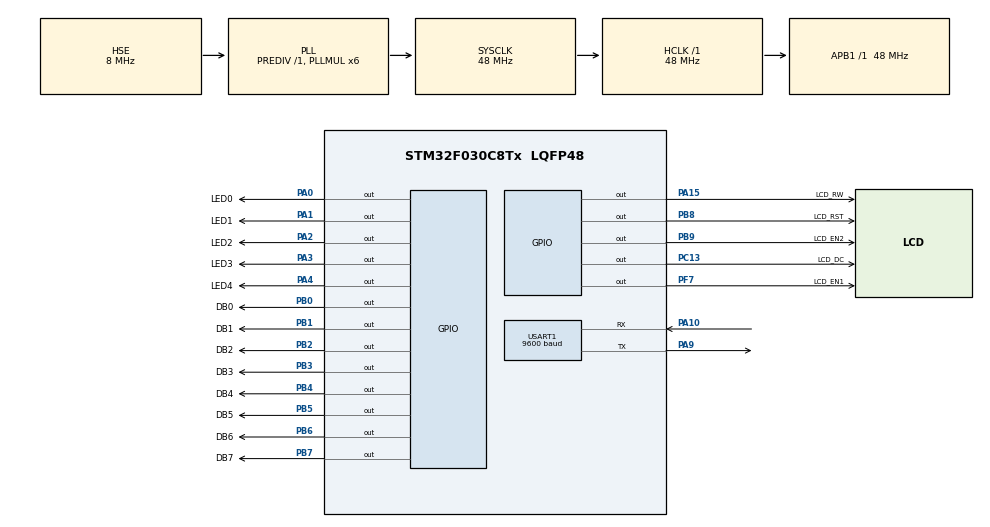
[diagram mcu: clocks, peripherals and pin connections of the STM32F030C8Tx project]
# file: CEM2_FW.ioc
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Mcu.Family=STM32F0
Mcu.Name=STM32F030C8Tx
Mcu.Package=LQFP48
NVIC.USART1_IRQn=true\:3\:0\:true\:false\:true\:true\:true
PA0.GPIO_Label=LED0
PA0.PinState=GPIO_PIN_SET
PA0.Signal=GPIO_Output
PA1.GPIO_Label=LED1
PA1.PinState=GPIO_PIN_SET
PA1.Signal=GPIO_Output
PA10.Mode=Asynchronous
PA10.Signal=USART1_RX
PA13.Mode=Serial_Wire
PA13.Signal=SYS_SWDIO
PA14.Mode=Serial_Wire
PA14.Signal=SYS_SWCLK
PA15.GPIO_Label=LCD_RW
PA15.Signal=GPIO_Output
PA2.GPIO_Label=LED2
PA2.PinState=GPIO_PIN_SET
PA2.Signal=GPIO_Output
PA3.GPIO_Label=LED3
PA3.PinState=GPIO_PIN_SET
PA3.Signal=GPIO_Output
PA4.GPIO_Label=LED4
PA4.PinState=GPIO_PIN_SET
PA4.Signal=GPIO_Output
PA9.Mode=Asynchronous
PA9.Signal=USART1_TX
PB0.GPIO_Label=DB0
PB0.GPIO_Speed=GPIO_SPEED_FREQ_HIGH
PB0.Signal=GPIO_Output
PB1.GPIO_Label=DB1
PB1.GPIO_Speed=GPIO_SPEED_FREQ_HIGH
PB1.Signal=GPIO_Output
PB2.GPIO_Label=DB2
PB2.GPIO_Speed=GPIO_SPEED_FREQ_HIGH
PB2.Signal=GPIO_Output
PB3.GPIO_Label=DB3
PB3.GPIO_Speed=GPIO_SPEED_FREQ_HIGH
PB3.Signal=GPIO_Output
PB4.GPIO_Label=DB4
PB4.GPIO_Speed=GPIO_SPEED_FREQ_HIGH
PB4.Signal=GPIO_Output
PB5.GPIO_Label=DB5
PB5.GPIO_Speed=GPIO_SPEED_FREQ_HIGH
PB5.Signal=GPIO_Output
PB6.GPIO_Label=DB6
PB6.GPIO_Speed=GPIO_SPEED_FREQ_HIGH
PB6.Signal=GPIO_Output
PB7.GPIO_Label=DB7
PB7.GPIO_Speed=GPIO_SPEED_FREQ_HIGH
PB7.Signal=GPIO_Output
PB8.GPIO_Label=LCD_RST
PB8.GPIO_Speed=GPIO_SPEED_FREQ_HIGH
PB8.Signal=GPIO_Output
PB9.GPIO_Label=LCD_EN2
PB9.GPIO_Speed=GPIO_SPEED_FREQ_HIGH
PB9.Signal=GPIO_Output
PC13.GPIO_Label=LCD_DC
PC13.Signal=GPIO_Output
PF0-OSC_IN.Mode=HSE-External-Oscillator
PF0-OSC_IN.Signal=RCC_OSC_IN
PF1-OSC_OUT.Mode=HSE-External-Oscillator
PF1-OSC_OUT.Signal=RCC_OSC_OUT
PF7.GPIO_Label=LCD_EN1
PF7.GPIO_Speed=GPIO_SPEED_FREQ_HIGH
PF7.Signal=GPIO_Output
ProjectManager.HeapSize=0x200
ProjectManager.StackSize=0x400
ProjectManager.TargetToolchain=MDK-ARM V5.27
RCC.AHBFreq_Value=48000000
RCC.APB1Freq_Value=48000000
RCC.APB1TimFreq_Value=48000000
RCC.HCLKFreq_Value=48000000
RCC.PLLMUL=RCC_PLL_MUL6
RCC.PLLSourceVirtual=RCC_PLLSOURCE_HSE
RCC.SYSCLKFreq_VALUE=48000000
RCC.SYSCLKSource=RCC_SYSCLKSOURCE_PLLCLK
USART1.BaudRate=9600
USART1.VirtualMode-Asynchronous=VM_ASYNC
board=custom

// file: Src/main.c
/* USER CODE BEGIN Header */
/**
  ******************************************************************************
  * @file           : main.c
  * @brief          : Main program body
  ******************************************************************************
  * @attention
  *
  * <h2><center>&copy; Copyright (c) 2020 STMicroelectronics.
  * All rights reserved.</center></h2>
  *
  * This software component is licensed by ST under BSD 3-Clause license,
  * the "License"; You may not use this file except in compliance with the
  * License. You may obtain a copy of the License at:
  *                        opensource.org/licenses/BSD-3-Clause
  *
  ******************************************************************************
  */
/* USER CODE END Header */

#include "main.h"

/* USER CODE BEGIN Includes */
#include "lcd_12232.h"
#include "app.h"
#include "string.h"

/* USER CODE END Includes */

/* USER CODE BEGIN PTD */
char uart_rxbuf[40];
uint16_t uart_rx_sta=0;
uint8_t uart_rx_byte=0;
/* USER CODE END PTD */

UART_HandleTypeDef huart1;

void SystemClock_Config(void);
static void MX_GPIO_Init(void);
static void MX_USART1_UART_Init(void);

int main(void)
{

  /* MCU Configuration--------------------------------------------------------*/

  /* Reset of all peripherals, Initializes the Flash interface and the Systick. */
  HAL_Init();

  /* Configure the system clock */
  SystemClock_Config();

  /* Initialize all configured peripherals */
  MX_GPIO_Init();
  MX_USART1_UART_Init();
  /* USER CODE BEGIN 2 */
	LCD_Init();
	RM_Desk();
  /* USER CODE END 2 */

  /* Infinite loop */
  while (1)
  {
		HAL_Delay(500);
		LCD_refreshGram();
		if(uart_rx_sta&0x8000)
		{
			RM_Desk_Refresh();
			uart_rx_sta=0;
		}
  }
}

void SystemClock_Config(void)
{
  RCC_OscInitTypeDef RCC_OscInitStruct = {0};
  RCC_ClkInitTypeDef RCC_ClkInitStruct = {0};
  RCC_PeriphCLKInitTypeDef PeriphClkInit = {0};

  /** Initializes the CPU, AHB and APB busses clocks
  */
  RCC_OscInitStruct.OscillatorType = RCC_OSCILLATORTYPE_HSE;
  RCC_OscInitStruct.HSEState = RCC_HSE_ON;
  RCC_OscInitStruct.PLL.PLLState = RCC_PLL_ON;
  RCC_OscInitStruct.PLL.PLLSource = RCC_PLLSOURCE_HSE;
  RCC_OscInitStruct.PLL.PLLMUL = RCC_PLL_MUL6;
  RCC_OscInitStruct.PLL.PREDIV = RCC_PREDIV_DIV1;
  if (HAL_RCC_OscConfig(&RCC_OscInitStruct) != HAL_OK)
  {
    Error_Handler();
  }
  /** Initializes the CPU, AHB and APB busses clocks
  */
  RCC_ClkInitStruct.ClockType = RCC_CLOCKTYPE_HCLK|RCC_CLOCKTYPE_SYSCLK
                              |RCC_CLOCKTYPE_PCLK1;
  RCC_ClkInitStruct.SYSCLKSource = RCC_SYSCLKSOURCE_PLLCLK;
  RCC_ClkInitStruct.AHBCLKDivider = RCC_SYSCLK_DIV1;
  RCC_ClkInitStruct.APB1CLKDivider = RCC_HCLK_DIV1;

  if (HAL_RCC_ClockConfig(&RCC_ClkInitStruct, FLASH_LATENCY_1) != HAL_OK)
  {
    Error_Handler();
  }
  PeriphClkInit.PeriphClockSelection = RCC_PERIPHCLK_USART1;
  PeriphClkInit.Usart1ClockSelection = RCC_USART1CLKSOURCE_PCLK1;
  if (HAL_RCCEx_PeriphCLKConfig(&PeriphClkInit) != HAL_OK)
  {
    Error_Handler();
  }
}

static void MX_USART1_UART_Init(void)
{

  huart1.Instance = USART1;
  huart1.Init.BaudRate = 9600;
  huart1.Init.WordLength = UART_WORDLENGTH_8B;
  huart1.Init.StopBits = UART_STOPBITS_1;
  huart1.Init.Parity = UART_PARITY_NONE;
  huart1.Init.Mode = UART_MODE_TX_RX;
  huart1.Init.HwFlowCtl = UART_HWCONTROL_NONE;
  huart1.Init.OverSampling = UART_OVERSAMPLING_16;
  huart1.Init.OneBitSampling = UART_ONE_BIT_SAMPLE_DISABLE;
  huart1.AdvancedInit.AdvFeatureInit = UART_ADVFEATURE_NO_INIT;
  if (HAL_UART_Init(&huart1) != HAL_OK)
  {
    Error_Handler();
  }
  /* USER CODE BEGIN USART1_Init 2 */
	HAL_UART_Receive_IT(&huart1,&uart_rx_byte,1);
  /* USER CODE END USART1_Init 2 */

}

static void MX_GPIO_Init(void)
{
  LL_GPIO_InitTypeDef GPIO_InitStruct = {0};

  /* GPIO Ports Clock Enable */
  LL_AHB1_GRP1_EnableClock(LL_AHB1_GRP1_PERIPH_GPIOC);
  LL_AHB1_GRP1_EnableClock(LL_AHB1_GRP1_PERIPH_GPIOF);
  LL_AHB1_GRP1_EnableClock(LL_AHB1_GRP1_PERIPH_GPIOA);
  LL_AHB1_GRP1_EnableClock(LL_AHB1_GRP1_PERIPH_GPIOB);

  /**/
  LL_GPIO_ResetOutputPin(LCD_DC_GPIO_Port, LCD_DC_Pin);

  /**/
  LL_GPIO_ResetOutputPin(DB0_GPIO_Port, DB0_Pin);

  /**/
  LL_GPIO_ResetOutputPin(DB1_GPIO_Port, DB1_Pin);

  /**/
  LL_GPIO_ResetOutputPin(DB2_GPIO_Port, DB2_Pin);

  /**/
  LL_GPIO_ResetOutputPin(LCD_EN1_GPIO_Port, LCD_EN1_Pin);

  /**/
  LL_GPIO_ResetOutputPin(LCD_RW_GPIO_Port, LCD_RW_Pin);

  /**/
  LL_GPIO_ResetOutputPin(DB3_GPIO_Port, DB3_Pin);

  /**/
  LL_GPIO_ResetOutputPin(DB4_GPIO_Port, DB4_Pin);

  /**/
  LL_GPIO_ResetOutputPin(DB5_GPIO_Port, DB5_Pin);

  /**/
  LL_GPIO_ResetOutputPin(DB6_GPIO_Port, DB6_Pin);

  /**/
  LL_GPIO_ResetOutputPin(DB7_GPIO_Port, DB7_Pin);

  /**/
  LL_GPIO_ResetOutputPin(LCD_RST_GPIO_Port, LCD_RST_Pin);

  /**/
  LL_GPIO_ResetOutputPin(LCD_EN2_GPIO_Port, LCD_EN2_Pin);

  /**/
  LL_GPIO_SetOutputPin(LED0_GPIO_Port, LED0_Pin);

  /**/
  LL_GPIO_SetOutputPin(LED1_GPIO_Port, LED1_Pin);

  /**/
  LL_GPIO_SetOutputPin(LED2_GPIO_Port, LED2_Pin);

  /**/
  LL_GPIO_SetOutputPin(LED3_GPIO_Port, LED3_Pin);

  /**/
  LL_GPIO_SetOutputPin(LED4_GPIO_Port, LED4_Pin);

  /**/
  GPIO_InitStruct.Pin = LCD_DC_Pin;
  GPIO_InitStruct.Mode = LL_GPIO_MODE_OUTPUT;
  GPIO_InitStruct.Speed = LL_GPIO_SPEED_FREQ_LOW;
  GPIO_InitStruct.OutputType = LL_GPIO_OUTPUT_PUSHPULL;
  GPIO_InitStruct.Pull = LL_GPIO_PULL_NO;
  LL_GPIO_Init(LCD_DC_GPIO_Port, &GPIO_InitStruct);

  /**/
  GPIO_InitStruct.Pin = LED0_Pin;
  GPIO_InitStruct.Mode = LL_GPIO_MODE_OUTPUT;
  GPIO_InitStruct.Speed = LL_GPIO_SPEED_FREQ_LOW;
  GPIO_InitStruct.OutputType = LL_GPIO_OUTPUT_PUSHPULL;
  GPIO_InitStruct.Pull = LL_GPIO_PULL_NO;
  LL_GPIO_Init(LED0_GPIO_Port, &GPIO_InitStruct);

  /**/
  GPIO_InitStruct.Pin = LED1_Pin;
  GPIO_InitStruct.Mode = LL_GPIO_MODE_OUTPUT;
  GPIO_InitStruct.Speed = LL_GPIO_SPEED_FREQ_LOW;
  GPIO_InitStruct.OutputType = LL_GPIO_OUTPUT_PUSHPULL;
  GPIO_InitStruct.Pull = LL_GPIO_PULL_NO;
  LL_GPIO_Init(LED1_GPIO_Port, &GPIO_InitStruct);

  /**/
  GPIO_InitStruct.Pin = LED2_Pin;
  GPIO_InitStruct.Mode = LL_GPIO_MODE_OUTPUT;
  GPIO_InitStruct.Speed = LL_GPIO_SPEED_FREQ_LOW;
  GPIO_InitStruct.OutputType = LL_GPIO_OUTPUT_PUSHPULL;
  GPIO_InitStruct.Pull = LL_GPIO_PULL_NO;
  LL_GPIO_Init(LED2_GPIO_Port, &GPIO_InitStruct);

  /**/
  GPIO_InitStruct.Pin = LED3_Pin;
  GPIO_InitStruct.Mode = LL_GPIO_MODE_OUTPUT;
  GPIO_InitStruct.Speed = LL_GPIO_SPEED_FREQ_LOW;
  GPIO_InitStruct.OutputType = LL_GPIO_OUTPUT_PUSHPULL;
  GPIO_InitStruct.Pull = LL_GPIO_PULL_NO;
  LL_GPIO_Init(LED3_GPIO_Port, &GPIO_InitStruct);

  /**/
  GPIO_InitStruct.Pin = LED4_Pin;
  GPIO_InitStruct.Mode = LL_GPIO_MODE_OUTPUT;
  GPIO_InitStruct.Speed = LL_GPIO_SPEED_FREQ_LOW;
  GPIO_InitStruct.OutputType = LL_GPIO_OUTPUT_PUSHPULL;
  GPIO_InitStruct.Pull = LL_GPIO_PULL_NO;
  LL_GPIO_Init(LED4_GPIO_Port, &GPIO_InitStruct);

  /**/
  GPIO_InitStruct.Pin = DB0_Pin;
  GPIO_InitStruct.Mode = LL_GPIO_MODE_OUTPUT;
  GPIO_InitStruct.Speed = LL_GPIO_SPEED_FREQ_HIGH;
  GPIO_InitStruct.OutputType = LL_GPIO_OUTPUT_PUSHPULL;
  GPIO_InitStruct.Pull = LL_GPIO_PULL_NO;
  LL_GPIO_Init(DB0_GPIO_Port, &GPIO_InitStruct);

  /**/
  GPIO_InitStruct.Pin = DB1_Pin;
  GPIO_InitStruct.Mode = LL_GPIO_MODE_OUTPUT;
  GPIO_InitStruct.Speed = LL_GPIO_SPEED_FREQ_HIGH;
  GPIO_InitStruct.OutputType = LL_GPIO_OUTPUT_PUSHPULL;
  GPIO_InitStruct.Pull = LL_GPIO_PULL_NO;
  LL_GPIO_Init(DB1_GPIO_Port, &GPIO_InitStruct);

  /**/
  GPIO_InitStruct.Pin = DB2_Pin;
  GPIO_InitStruct.Mode = LL_GPIO_MODE_OUTPUT;
  GPIO_InitStruct.Speed = LL_GPIO_SPEED_FREQ_HIGH;
  GPIO_InitStruct.OutputType = LL_GPIO_OUTPUT_PUSHPULL;
  GPIO_InitStruct.Pull = LL_GPIO_PULL_NO;
  LL_GPIO_Init(DB2_GPIO_Port, &GPIO_InitStruct);

  /**/
  GPIO_InitStruct.Pin = LCD_EN1_Pin;
  GPIO_InitStruct.Mode = LL_GPIO_MODE_OUTPUT;
  GPIO_InitStruct.Speed = LL_GPIO_SPEED_FREQ_HIGH;
  GPIO_InitStruct.OutputType = LL_GPIO_OUTPUT_PUSHPULL;
  GPIO_InitStruct.Pull = LL_GPIO_PULL_NO;
  LL_GPIO_Init(LCD_EN1_GPIO_Port, &GPIO_InitStruct);

  /**/
  GPIO_InitStruct.Pin = LCD_RW_Pin;
  GPIO_InitStruct.Mode = LL_GPIO_MODE_OUTPUT;
  GPIO_InitStruct.Speed = LL_GPIO_SPEED_FREQ_LOW;
  GPIO_InitStruct.OutputType = LL_GPIO_OUTPUT_PUSHPULL;
  GPIO_InitStruct.Pull = LL_GPIO_PULL_NO;
  LL_GPIO_Init(LCD_RW_GPIO_Port, &GPIO_InitStruct);

  /**/
  GPIO_InitStruct.Pin = DB3_Pin;
  GPIO_InitStruct.Mode = LL_GPIO_MODE_OUTPUT;
  GPIO_InitStruct.Speed = LL_GPIO_SPEED_FREQ_HIGH;
  GPIO_InitStruct.OutputType = LL_GPIO_OUTPUT_PUSHPULL;
  GPIO_InitStruct.Pull = LL_GPIO_PULL_NO;
  LL_GPIO_Init(DB3_GPIO_Port, &GPIO_InitStruct);

  /**/
  GPIO_InitStruct.Pin = DB4_Pin;
  GPIO_InitStruct.Mode = LL_GPIO_MODE_OUTPUT;
  GPIO_InitStruct.Speed = LL_GPIO_SPEED_FREQ_HIGH;
  GPIO_InitStruct.OutputType = LL_GPIO_OUTPUT_PUSHPULL;
  GPIO_InitStruct.Pull = LL_GPIO_PULL_NO;
  LL_GPIO_Init(DB4_GPIO_Port, &GPIO_InitStruct);

  /**/
  GPIO_InitStruct.Pin = DB5_Pin;
  GPIO_InitStruct.Mode = LL_GPIO_MODE_OUTPUT;
  GPIO_InitStruct.Speed = LL_GPIO_SPEED_FREQ_HIGH;
  GPIO_InitStruct.OutputType = LL_GPIO_OUTPUT_PUSHPULL;
  GPIO_InitStruct.Pull = LL_GPIO_PULL_NO;
  LL_GPIO_Init(DB5_GPIO_Port, &GPIO_InitStruct);

  /**/
  GPIO_InitStruct.Pin = DB6_Pin;
  GPIO_InitStruct.Mode = LL_GPIO_MODE_OUTPUT;
  GPIO_InitStruct.Speed = LL_GPIO_SPEED_FREQ_HIGH;
  GPIO_InitStruct.OutputType = LL_GPIO_OUTPUT_PUSHPULL;
  GPIO_InitStruct.Pull = LL_GPIO_PULL_NO;
  LL_GPIO_Init(DB6_GPIO_Port, &GPIO_InitStruct);

  /**/
  GPIO_InitStruct.Pin = DB7_Pin;
  GPIO_InitStruct.Mode = LL_GPIO_MODE_OUTPUT;
  GPIO_InitStruct.Speed = LL_GPIO_SPEED_FREQ_HIGH;
  GPIO_InitStruct.OutputType = LL_GPIO_OUTPUT_PUSHPULL;
  GPIO_InitStruct.Pull = LL_GPIO_PULL_NO;
  LL_GPIO_Init(DB7_GPIO_Port, &GPIO_InitStruct);

  /**/
  GPIO_InitStruct.Pin = LCD_RST_Pin;
  GPIO_InitStruct.Mode = LL_GPIO_MODE_OUTPUT;
  GPIO_InitStruct.Speed = LL_GPIO_SPEED_FREQ_HIGH;
  GPIO_InitStruct.OutputType = LL_GPIO_OUTPUT_PUSHPULL;
  GPIO_InitStruct.Pull = LL_GPIO_PULL_NO;
  LL_GPIO_Init(LCD_RST_GPIO_Port, &GPIO_InitStruct);

  /**/
  GPIO_InitStruct.Pin = LCD_EN2_Pin;
  GPIO_InitStruct.Mode = LL_GPIO_MODE_OUTPUT;
  GPIO_InitStruct.Speed = LL_GPIO_SPEED_FREQ_HIGH;
  GPIO_InitStruct.OutputType = LL_GPIO_OUTPUT_PUSHPULL;
  GPIO_InitStruct.Pull = LL_GPIO_PULL_NO;
  LL_GPIO_Init(LCD_EN2_GPIO_Port, &GPIO_InitStruct);

}

/* USER CODE BEGIN 4 */
uint8_t uart_error_count=0;
uint8_t uart_baud_state=0;
void HAL_UART_RxCpltCallback(UART_HandleTypeDef *huart)
{
  /* Prevent unused argument(s) compilation warning */
	if(uart_baud_state)
	{
		if(uart_rx_byte=='|')
		{
			uart_rx_sta|=0x8000;
		}
		else
		{
			uart_rxbuf[uart_rx_sta&0X3FFF]=uart_rx_byte;
			uart_rx_sta++;
		}
	}

	if(uart_rx_byte!='|')
	{
		uart_error_count++;
		if(uart_error_count==80)
		{
			uart_baud_state=0;//baud rate error!
			HAL_UART_DeInit(&huart1);
			huart1.Instance = USART1;
			huart1.Init.BaudRate = 4800;
			huart1.Init.WordLength = UART_WORDLENGTH_8B;
			huart1.Init.StopBits = UART_STOPBITS_1;
			huart1.Init.Parity = UART_PARITY_NONE;
			huart1.Init.Mode = UART_MODE_TX_RX;
			huart1.Init.HwFlowCtl = UART_HWCONTROL_NONE;
			huart1.Init.OverSampling = UART_OVERSAMPLING_16;
			if (HAL_UART_Init(&huart1) != HAL_OK)
			{
				Error_Handler();
			}
			uart_error_count=0;

		}
	}
	else
	{
		uart_baud_state=1;
		uart_error_count=0;
	}
  /* NOTE: This function should not be modified, when the callback is needed,
           the HAL_UART_RxCpltCallback could be implemented in the user file
   */
}
/* USER CODE END 4 */

void Error_Handler(void)
{
}

/************************ (C) COPYRIGHT STMicroelectronics *****END OF FILE****/
